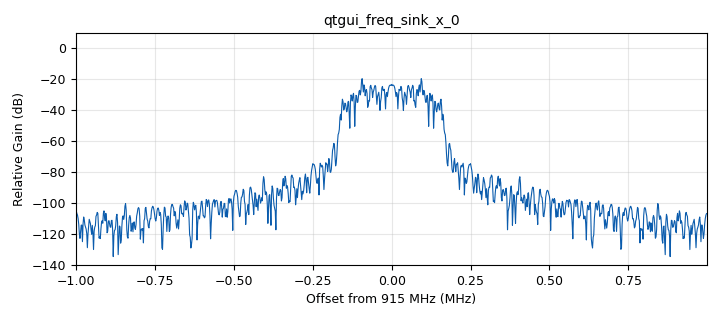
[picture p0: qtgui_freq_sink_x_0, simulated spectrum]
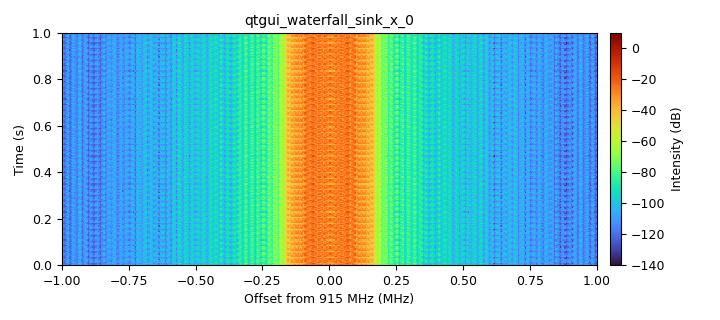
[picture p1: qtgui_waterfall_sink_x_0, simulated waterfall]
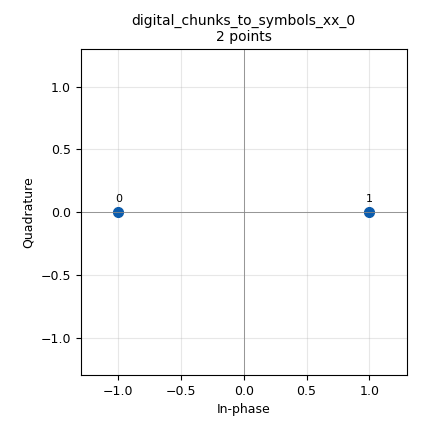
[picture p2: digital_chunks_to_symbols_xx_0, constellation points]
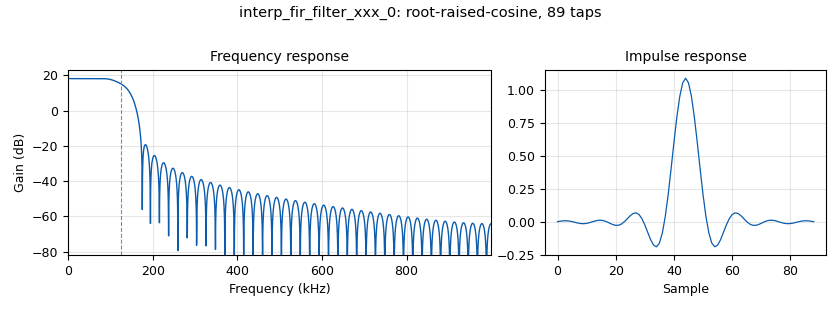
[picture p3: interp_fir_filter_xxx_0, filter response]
options:
  parameters:
    author: rootr
    generate_options: qt_gui
    generator_class_name: PythonQtGuiGenerator
    generator_module: gnuradio.grc.workflows.python_qt_gui
    id: msg_BPSK
    output_language: python
    title: Not titled yet
  states: {}

blocks:
- name: frame
  id: variable
  parameters:
    comment: 'Robust frame: 4B preamble (0xAA) for AGC/timing settle + 2B access code (0x2D,0xD4, must match the RX correlate_access_code block) + 1B length + payload + 4B big-endian CRC32(length+payload). Length field makes the frame work for any short text, CRC32 lets the RX reject corrupted copies instead of passing garbage through.'
    value: bytes([0xAA,0xAA,0xAA,0xAA,0x2D,0xD4,len(msg)]) + msg + zlib.crc32(bytes([len(msg)]) + msg).to_bytes(4, "big")
  states: {}
- name: freq
  id: variable
  parameters:
    value: 915e6
  states: {}
- name: msg
  id: variable
  parameters:
    comment: EDIT THIS to change the text message. Max 255 bytes (the frame's length field is a single byte).
    value: b"Hello World!"
  states: {}
- name: rrc_taps
  id: variable
  parameters:
    value: firdes.root_raised_cosine(sps, samp_rate, sym_rate, 0.35, 11*sps)
  states: {}
- name: samp_rate
  id: variable
  parameters:
    value: 2e6
  states: {}
- name: sps
  id: variable
  parameters:
    value: '8'
  states: {}
- name: sym_rate
  id: variable
  parameters:
    value: samp_rate / sps
  states: {}
- name: blocks_unpack_k_bits_bb_0
  id: blocks_unpack_k_bits_bb
  parameters:
    k: '8'
  states: {}
- name: blocks_vector_source_x_0
  id: blocks_vector_source_x
  parameters:
    comment: |-
      Now sourced from the "frame" variable instead
       of a hardcoded list, so it always matches msg/CRC.
    repeat: 'True'
    type: byte
    vector: list(frame)
  states: {}
- name: digital_chunks_to_symbols_xx_0
  id: digital_chunks_to_symbols_xx
  parameters:
    dimension: '1'
    in_type: byte
    out_type: complex
    symbol_table: '[-1.0+0.0j, 1.0+0.0j]'
  states: {}
- name: digital_diff_encoder_bb_0
  id: digital_diff_encoder_bb
  parameters:
    coding: digital.DIFF_DIFFERENTIAL
    comment: |-
      Differential precoding of the whole bitstream 
      (preamble+access code+payload). This makes the
       RX immune to the Costas loop's 180-degree phase 
      ambiguity: a full polarity flip of the received bits no 
      longer changes the decoded output, so the RX 
      access-code correlator will always find the sync 
      word without needing to search an inverted copy 
      of the bitstream offline.
    modulus: '2'
  states: {}
- name: iio_pluto_sink_0
  id: iio_pluto_sink
  parameters:
    attenuation1: '10.0'
    bandwidth: '2000000'
    buffer_size: '32768'
    cyclic: 'False'
    filter_source: '''Auto'''
    frequency: int(freq)
    samplerate: int(samp_rate)
    type: fc32
    uri: ip:192.168.1.10
  states: {}
- name: import_0
  id: import
  parameters:
    imports: import zlib
  states: {}
- name: interp_fir_filter_xxx_0
  id: interp_fir_filter_xxx
  parameters:
    interp: sps
    taps: rrc_taps
    type: ccc
  states: {}
- name: qtgui_freq_sink_x_0
  id: qtgui_freq_sink_x
  parameters:
    bw: samp_rate
    fc: freq
    fftsize: '1024'
    type: complex
  states: {}
- name: qtgui_waterfall_sink_x_0
  id: qtgui_waterfall_sink_x
  parameters:
    bw: samp_rate
    fc: freq
    fftsize: '1024'
    type: complex
  states: {}

connections:
- [blocks_unpack_k_bits_bb_0, '0', digital_diff_encoder_bb_0, '0']
- [blocks_vector_source_x_0, '0', blocks_unpack_k_bits_bb_0, '0']
- [digital_chunks_to_symbols_xx_0, '0', interp_fir_filter_xxx_0, '0']
- [digital_diff_encoder_bb_0, '0', digital_chunks_to_symbols_xx_0, '0']
- [interp_fir_filter_xxx_0, '0', iio_pluto_sink_0, '0']
- [interp_fir_filter_xxx_0, '0', qtgui_freq_sink_x_0, '0']
- [interp_fir_filter_xxx_0, '0', qtgui_waterfall_sink_x_0, '0']

metadata:
  file_format: 1
  grc_version: 3.10.12.0
